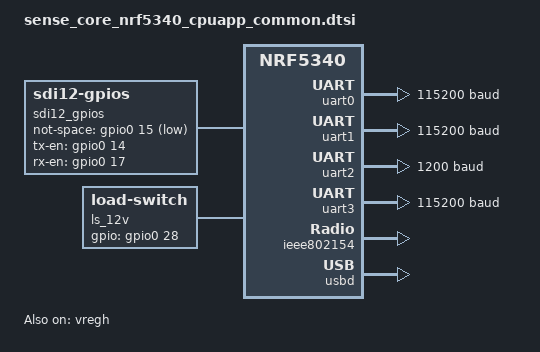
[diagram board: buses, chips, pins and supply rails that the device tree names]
/*
 * Copyright (c) 2019-2020 Nordic Semiconductor ASA
 *
 * SPDX-License-Identifier: Apache-2.0
 */
#include "sense_core_nrf5340_common.dtsi"
#include "sense_core_nrf5340_cpuapp_common-pinctrl.dtsi"

/ {
	chosen {
		zephyr,console = &uart0;
		zephyr,shell-uart = &cdc_acm_uart0;
		zephyr,uart-mcumgr = &uart0;
		zephyr,bt-mon-uart = &uart0;
		zephyr,bt-c2h-uart = &uart0;
		zephyr,bt-hci = &bt_hci_ipc0;
		nordic,802154-spinel-ipc = &ipc0;
		zephyr,ieee802154 = &ieee802154;
	};

	// TODO: Do we need to forward any GPIOs to the net core?
	// gpio_fwd: nrf-gpio-forwarder {
	// 	compatible = "nordic,nrf-gpio-forwarder";
	// 	status = "okay";
	// 	uart {
	// 		gpios = <&gpio1 1 0>, <&gpio1 0 0>, <&gpio0 11 0>, <&gpio0 10 0>;
	// 	};
	// };

	sdi12_gpios: sdi12-gpios {
		compatible = "sdi12-gpios";
		not-space-gpio = <&gpio0 15 GPIO_ACTIVE_LOW>;   // ~SPACE
		tx-en-gpio = <&gpio0 14 GPIO_ACTIVE_HIGH>;      // TX_EN
		rx-en-gpio = <&gpio0 17 GPIO_ACTIVE_HIGH>;      // RX_EN
	};

	ls_12v: load_switch_12v {
		compatible = "load-switch";
		gpios = <&gpio0 28 GPIO_ACTIVE_HIGH>;

	};
};

&vregmain {
	regulator-initial-mode = <NRF5X_REG_MODE_DCDC>;
};

&vregradio {
	regulator-initial-mode = <NRF5X_REG_MODE_DCDC>;
};

&vregh {
	status = "okay";
};

&gpiote {
	status = "okay";
};

&gpio0 {
	status = "okay";
};

&gpio1 {
	status = "okay";
};

rs232_uart: &uart0 {
	status = "okay";
	current-speed = <115200>;
	pinctrl-0 = <&uart0_default>;
	pinctrl-1 = <&uart0_sleep>;
	pinctrl-names = "default", "sleep";
};

rs485_uart: &uart1 {
	status = "okay";
	current-speed = <115200>;
	pinctrl-0 = <&uart1_default>;
	pinctrl-1 = <&uart1_sleep>;
	pinctrl-names = "default", "sleep";
};

sdi12_uart: &uart2 {
	status = "okay";
	current-speed = <1200>;
	parity = "even";
	stop-bits = "1";
	data-bits = <7>;
	pinctrl-0 = <&uart2_default>;
	pinctrl-1 = <&uart2_sleep>;
	pinctrl-names = "default", "sleep";
};

icmp_uart: &uart3 {
	status = "okay";
	current-speed = <115200>;
	pinctrl-0 = <&uart3_default>;
	pinctrl-1 = <&uart3_sleep>;
	pinctrl-names = "default", "sleep";
};


mcu_spi: &spi3 {
	compatible = "nordic,nrf-spis";
	status = "disabled";
	pinctrl-0 = <&spi3_default>;
	pinctrl-1 = <&spi3_sleep>;
	pinctrl-names = "default", "sleep";
	def-char = <0x00>;
};

&ieee802154 {
	status = "okay";
};

zephyr_udc0: &usbd {
	compatible = "nordic,nrf-usbd";
	status = "okay";

	cdc_acm_uart0: cdc_acm_uart0 {
		compatible = "zephyr,cdc-acm-uart";
	};
};

/* Include default memory partition configuration file */
#include <common/nordic/nrf5340_cpuapp_partition.dtsi>
